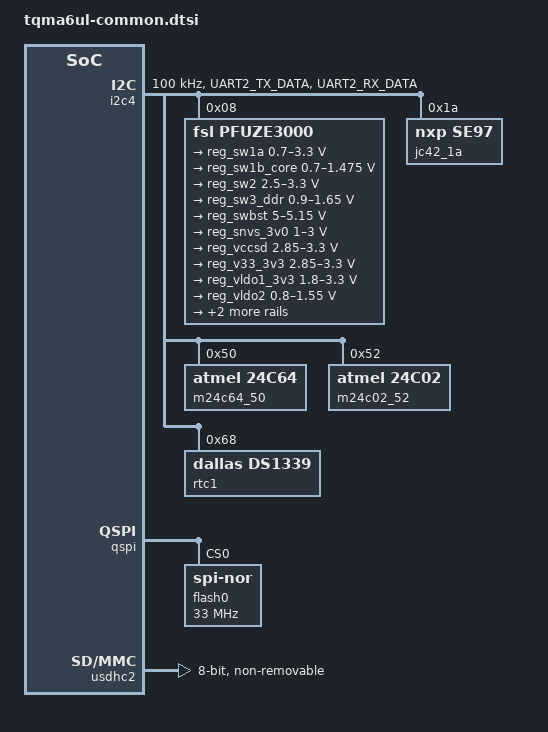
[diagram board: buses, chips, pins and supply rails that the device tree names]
// SPDX-License-Identifier: (GPL-2.0-or-later OR MIT)
/*
 * Copyright 2018 TQ Systems GmbH
 * Author: Markus Niebel <Markus.Niebel@tq-group.com>
 */

&cpu0 {
	arm-supply = <&reg_arm>;
	soc-supply = <&reg_soc>;
};

&i2c4 {
	clock-frequency = <100000>;
	pinctrl-names = "default";
	pinctrl-0 = <&pinctrl_i2c4>;
	status = "okay";

	pfuze3000: pmic@8 {
		compatible = "fsl,pfuze3000";
		reg = <0x08>;

		regulators {
			reg_sw1a: sw1a {
				regulator-min-microvolt = <700000>;
				regulator-max-microvolt = <3300000>;
				regulator-boot-on;
				regulator-ramp-delay = <6250>;
				/* not used */
			};

			reg_sw1b_core: sw1b {
				regulator-min-microvolt = <700000>;
				regulator-max-microvolt = <1475000>;
				regulator-boot-on;
				regulator-always-on;
				regulator-ramp-delay = <6250>;
			};

			reg_sw2: sw2 {
				regulator-min-microvolt = <2500000>;
				regulator-max-microvolt = <3300000>;
				regulator-boot-on;
			};

			reg_sw3_ddr: sw3 {
				regulator-min-microvolt = <900000>;
				regulator-max-microvolt = <1650000>;
				regulator-boot-on;
				regulator-always-on;
			};

			reg_swbst: swbst {
				regulator-min-microvolt = <5000000>;
				regulator-max-microvolt = <5150000>;
				/* not used */
			};

			reg_snvs_3v0: vsnvs {
				regulator-min-microvolt = <1000000>;
				regulator-max-microvolt = <3000000>;
				regulator-boot-on;
				regulator-always-on;
			};

			reg_vrefddr: vrefddr {
				regulator-boot-on;
				regulator-always-on;
			};

			reg_vccsd: vccsd {
				regulator-min-microvolt = <2850000>;
				regulator-max-microvolt = <3300000>;
			};

			reg_v33_3v3: v33 {
				regulator-min-microvolt = <2850000>;
				regulator-max-microvolt = <3300000>;
				regulator-always-on;
			};

			reg_vldo1_3v3: vldo1 {
				regulator-min-microvolt = <1800000>;
				regulator-max-microvolt = <3300000>;
				regulator-boot-on;
				/* not used */
			};

			reg_vldo2: vldo2 {
				regulator-min-microvolt = <800000>;
				regulator-max-microvolt = <1550000>;
				regulator-boot-on;
				/* not used */
			};

			reg_vldo3: vldo3 {
				regulator-min-microvolt = <1800000>;
				regulator-max-microvolt = <3300000>;
				regulator-boot-on;
				/* not used */
			};

			reg_vldo4: vldo4 {
				regulator-min-microvolt = <1800000>;
				regulator-max-microvolt = <1800000>;
				regulator-fixed;
				regulator-always-on;
			};
		};
	};

	jc42_1a: eeprom-temperature-sensor@1a {
		compatible = "nxp,se97", "jedec,jc-42.4-temp";
		reg = <0x1a>;
		status = "okay";
	};

	m24c64_50: eeprom@50 {
		compatible = "atmel,24c64";
		reg = <0x50>;
		pagesize = <32>;
		status = "okay";
	};

	m24c02_52: eeprom@52 {
		compatible = "atmel,24c02";
		reg = <0x52>;
		pagesize = <16>;
		status = "okay";
	};

	rtc1: rtc@68 {
		compatible = "dallas,ds1339";
		reg = <0x68>;
		status = "okay";
	};
};

&iomuxc {
	pinctrl_i2c4: i2c4grp {
		fsl,pins = <
			MX6UL_PAD_UART2_TX_DATA__I2C4_SCL	0x4001b8b0
			MX6UL_PAD_UART2_RX_DATA__I2C4_SDA	0x4001b8b0
		>;
	};

	/*
	 * currently not used, potentially dangerous if used on
	 * baseboard
	 */
	pinctrl_pmic: pmic {
		fsl,pins = <
			/* PMIC irq */
			MX6UL_PAD_CSI_DATA03__GPIO4_IO24	0x1b099
		>;
	};
};

&qspi {
	pinctrl-names = "default";
	pinctrl-0 = <&pinctrl_qspi>;
	status = "okay";

	flash0: spinor@0 {
		#address-cells = <1>;
		#size-cells = <1>;
		compatible = "jedec,spi-nor";
		spi-max-frequency = <33000000>;
		spi-rx-bus-width = <4>;
		spi-tx-bus-width = <4>;
		reg = <0>;
	};
};

&snvs_rtc {
	status = "disabled";
};

/* eMMC */
&usdhc2 {
	pinctrl-names = "default", "state_100mhz" , "state_200mhz";
	pinctrl-0 = <&pinctrl_usdhc2>;
	pinctrl-1 = <&pinctrl_usdhc2_100mhz>;
	pinctrl-2 = <&pinctrl_usdhc2_200mhz>;

	bus-width = <8>;
	disable-wp;
	non-removable;
	no-sdio;
	no-sd;
	status = "okay";
};
